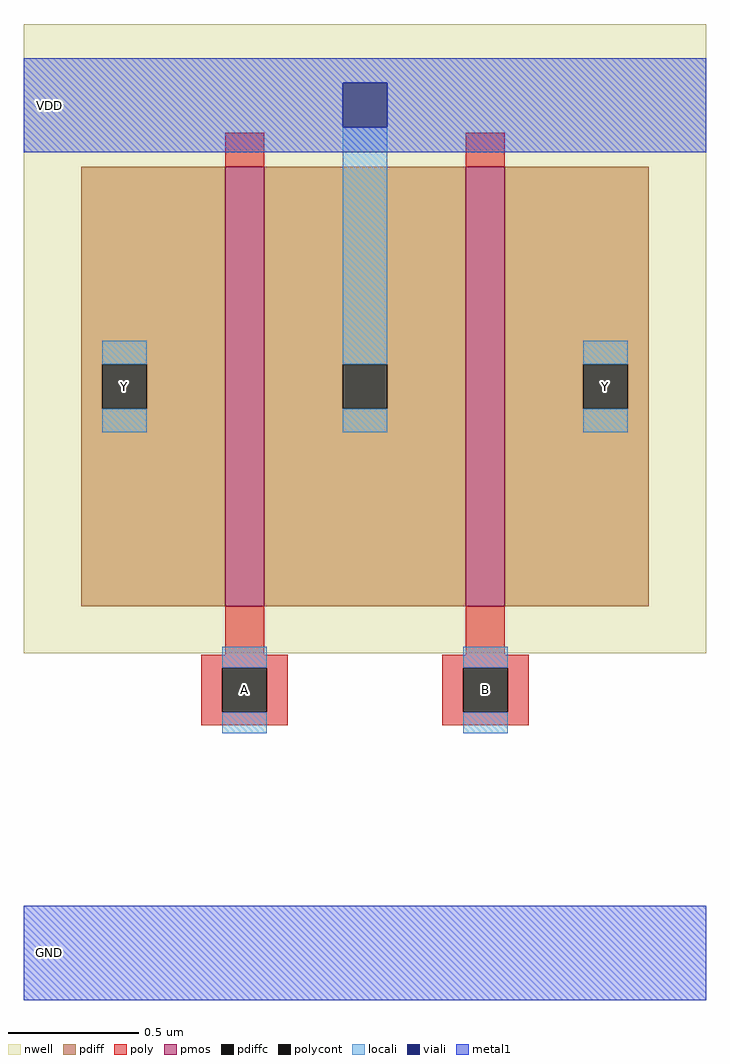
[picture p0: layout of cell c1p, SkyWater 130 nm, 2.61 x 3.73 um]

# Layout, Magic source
magic
tech sky130A
magscale 1 2
<< nwell >>
rect 0 229 522 710
<< pmos >>
rect 154 265 184 601
rect 338 265 368 601
<< pdiff >>
rect 44 450 154 601
rect 44 416 60 450
rect 94 416 154 450
rect 44 265 154 416
rect 184 450 338 601
rect 184 416 244 450
rect 278 416 338 450
rect 184 265 338 416
rect 368 450 478 601
rect 368 416 428 450
rect 462 416 478 450
rect 368 265 478 416
<< pdiffc >>
rect 60 416 94 450
rect 244 416 278 450
rect 428 416 462 450
<< poly >>
rect 154 601 184 627
rect 338 601 368 627
rect 154 228 184 265
rect 338 228 368 265
rect 136 218 202 228
rect 136 184 152 218
rect 186 184 202 218
rect 136 174 202 184
rect 320 218 386 228
rect 320 184 336 218
rect 370 184 386 218
rect 320 174 386 184
<< polycont >>
rect 152 184 186 218
rect 336 184 370 218
<< locali >>
rect 60 450 94 468
rect 60 398 94 416
rect 244 450 278 631
rect 244 398 278 416
rect 428 450 462 468
rect 428 398 462 416
rect 152 218 186 234
rect 152 168 186 184
rect 336 218 370 234
rect 336 168 370 184
<< viali >>
rect 244 631 278 665
<< metal1 >>
rect 0 665 522 684
rect 0 631 244 665
rect 278 631 522 665
rect 0 612 522 631
rect 0 -36 522 36
<< labels >>
rlabel polycont 169 201 169 201 0 A
port 1 nsew
rlabel polycont 353 201 353 201 0 B
port 2 nsew
rlabel pdiffc 77 433 77 433 0 Y
port 3 nsew
rlabel pdiffc 445 433 445 433 0 Y
port 3 nsew
rlabel metal1 20 648 20 648 0 VDD
port 4 nsew
rlabel metal1 20 0 20 0 0 GND
port 5 nsew
<< end >>
